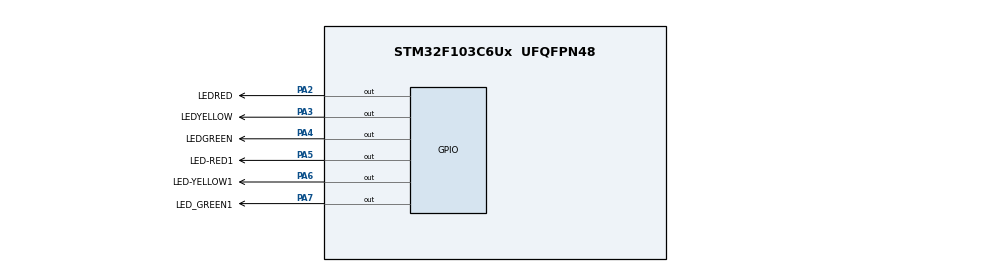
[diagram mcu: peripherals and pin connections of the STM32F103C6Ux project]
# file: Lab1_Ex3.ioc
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Mcu.Family=STM32F1
Mcu.Name=STM32F103C6Ux
Mcu.Package=UFQFPN48
NVIC.PriorityGroup=NVIC_PRIORITYGROUP_4
PA2.GPIO_Label=LEDRED
PA2.Signal=GPIO_Output
PA3.GPIO_Label=LEDYELLOW
PA3.Signal=GPIO_Output
PA4.GPIO_Label=LEDGREEN
PA4.Signal=GPIO_Output
PA5.GPIO_Label=LED-RED1
PA5.Signal=GPIO_Output
PA6.GPIO_Label=LED-YELLOW1
PA6.Signal=GPIO_Output
PA7.GPIO_Label=LED_GREEN1
PA7.Signal=GPIO_Output
ProjectManager.HeapSize=0x200
ProjectManager.StackSize=0x400
ProjectManager.TargetToolchain=STM32CubeIDE
RCC.APB1Freq_Value=8000000
RCC.APB2Freq_Value=8000000
VP_SYS_VS_ND.Mode=No_Debug
board=custom

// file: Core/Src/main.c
/* USER CODE BEGIN Header */
/**
  ******************************************************************************
  * @file           : main.c
  * @brief          : Main program body
  ******************************************************************************
  * @attention
  *
  * <h2><center>&copy; Copyright (c) 2024 STMicroelectronics.
  * All rights reserved.</center></h2>
  *
  * This software component is licensed by ST under BSD 3-Clause license,
  * the "License"; You may not use this file except in compliance with the
  * License. You may obtain a copy of the License at:
  *                        opensource.org/licenses/BSD-3-Clause
  *
  ******************************************************************************
  */
/* USER CODE END Header */
#include "main.h"

/* USER CODE BEGIN PV */
int counter1 = 3;
int count = 3;
/* USER CODE END PV */

void SystemClock_Config(void);
static void MX_GPIO_Init(void);

int main(void)
{

  /* MCU Configuration--------------------------------------------------------*/

  /* Reset of all peripherals, Initializes the Flash interface and the Systick. */
  HAL_Init();

  /* Configure the system clock */
  SystemClock_Config();

  /* Initialize all configured peripherals */
  MX_GPIO_Init();

  /* Infinite loop */
  /* USER CODE BEGIN WHILE */
  while (1)
  {

	  if (counter1 > 1 && count == 3){
	  	 HAL_GPIO_WritePin(GPIOA, GPIO_PIN_7, GPIO_PIN_SET);
	  	 HAL_GPIO_WritePin(GPIOA, GPIO_PIN_6, GPIO_PIN_RESET);
	  	 HAL_GPIO_WritePin(GPIOA, GPIO_PIN_5, GPIO_PIN_RESET);
	  	 HAL_GPIO_WritePin(GPIOA, GPIO_PIN_2, GPIO_PIN_SET);
	  	 HAL_GPIO_WritePin(GPIOA, GPIO_PIN_3, GPIO_PIN_RESET);
	  	 HAL_GPIO_WritePin(GPIOA, GPIO_PIN_4, GPIO_PIN_RESET);
	  }

	  if (counter1 > 1 && count == 2){
	  	 HAL_GPIO_WritePin(GPIOA, GPIO_PIN_6, GPIO_PIN_SET);
	  	 HAL_GPIO_WritePin(GPIOA, GPIO_PIN_7, GPIO_PIN_RESET);
	  	 HAL_GPIO_WritePin(GPIOA, GPIO_PIN_5, GPIO_PIN_RESET);
	  	 HAL_GPIO_WritePin(GPIOA, GPIO_PIN_2, GPIO_PIN_SET);
	  	 HAL_GPIO_WritePin(GPIOA, GPIO_PIN_3, GPIO_PIN_RESET);
	  	 HAL_GPIO_WritePin(GPIOA, GPIO_PIN_4, GPIO_PIN_RESET);
	  }

	  if (counter1 > 1 && count == 5){
	  	 if (counter1 > 2){
	  	  	HAL_GPIO_WritePin(GPIOA, GPIO_PIN_5, GPIO_PIN_SET); //do
	  	  	HAL_GPIO_WritePin(GPIOA, GPIO_PIN_6, GPIO_PIN_RESET); //
	  	  	HAL_GPIO_WritePin(GPIOA, GPIO_PIN_7, GPIO_PIN_RESET); //
	  	  	HAL_GPIO_WritePin(GPIOA, GPIO_PIN_4, GPIO_PIN_SET); //xanh
	  	  	HAL_GPIO_WritePin(GPIOA, GPIO_PIN_2, GPIO_PIN_RESET); //
	  	  	HAL_GPIO_WritePin(GPIOA, GPIO_PIN_3, GPIO_PIN_RESET); //
	  	  } else {
	  	  	HAL_GPIO_WritePin(GPIOA, GPIO_PIN_5, GPIO_PIN_SET); //do
	  	  	HAL_GPIO_WritePin(GPIOA, GPIO_PIN_6, GPIO_PIN_RESET); //
	  	  	HAL_GPIO_WritePin(GPIOA, GPIO_PIN_7, GPIO_PIN_RESET); //
	  	  	HAL_GPIO_WritePin(GPIOA, GPIO_PIN_3, GPIO_PIN_SET); //xanh
	  	  	HAL_GPIO_WritePin(GPIOA, GPIO_PIN_2, GPIO_PIN_RESET); //
	  	  	HAL_GPIO_WritePin(GPIOA, GPIO_PIN_4, GPIO_PIN_RESET); //
	  	  }
	  	}
	  	  counter1--;
	  	  			if (counter1 <= 0 && count == 3) {
	  	  				count = 2;
	  	  				counter1 = 2;
	  	  			}
	  	  			if (counter1 <= 0 && count == 2) {
	  	  				count = 5;
	  	  				counter1 = 5;
	  	  			}
	  	  			if (counter1 <= 0 && count == 5) {
	  	  				count = 3;
	  	  				counter1 = 3;
	  	  			}
	  	  			HAL_Delay(1000);

    /* USER CODE END WHILE */

  }
}

void SystemClock_Config(void)
{
  RCC_OscInitTypeDef RCC_OscInitStruct = {0};
  RCC_ClkInitTypeDef RCC_ClkInitStruct = {0};

  /** Initializes the RCC Oscillators according to the specified parameters
  * in the RCC_OscInitTypeDef structure.
  */
  RCC_OscInitStruct.OscillatorType = RCC_OSCILLATORTYPE_HSI;
  RCC_OscInitStruct.HSIState = RCC_HSI_ON;
  RCC_OscInitStruct.HSICalibrationValue = RCC_HSICALIBRATION_DEFAULT;
  RCC_OscInitStruct.PLL.PLLState = RCC_PLL_NONE;
  if (HAL_RCC_OscConfig(&RCC_OscInitStruct) != HAL_OK)
  {
    Error_Handler();
  }
  /** Initializes the CPU, AHB and APB buses clocks
  */
  RCC_ClkInitStruct.ClockType = RCC_CLOCKTYPE_HCLK|RCC_CLOCKTYPE_SYSCLK
                              |RCC_CLOCKTYPE_PCLK1|RCC_CLOCKTYPE_PCLK2;
  RCC_ClkInitStruct.SYSCLKSource = RCC_SYSCLKSOURCE_HSI;
  RCC_ClkInitStruct.AHBCLKDivider = RCC_SYSCLK_DIV1;
  RCC_ClkInitStruct.APB1CLKDivider = RCC_HCLK_DIV1;
  RCC_ClkInitStruct.APB2CLKDivider = RCC_HCLK_DIV1;

  if (HAL_RCC_ClockConfig(&RCC_ClkInitStruct, FLASH_LATENCY_0) != HAL_OK)
  {
    Error_Handler();
  }
}

static void MX_GPIO_Init(void)
{
  GPIO_InitTypeDef GPIO_InitStruct = {0};

  /* GPIO Ports Clock Enable */
  __HAL_RCC_GPIOA_CLK_ENABLE();

  /*Configure GPIO pin Output Level */
  HAL_GPIO_WritePin(GPIOA, LEDRED_Pin|LEDYELLOW_Pin|LEDGREEN_Pin|LED_RED1_Pin
                          |LED_YELLOW1_Pin|LED_GREEN1_Pin, GPIO_PIN_RESET);

  /*Configure GPIO pins : LEDRED_Pin LEDYELLOW_Pin LEDGREEN_Pin LED_RED1_Pin
                           LED_YELLOW1_Pin LED_GREEN1_Pin */
  GPIO_InitStruct.Pin = LEDRED_Pin|LEDYELLOW_Pin|LEDGREEN_Pin|LED_RED1_Pin
                          |LED_YELLOW1_Pin|LED_GREEN1_Pin;
  GPIO_InitStruct.Mode = GPIO_MODE_OUTPUT_PP;
  GPIO_InitStruct.Pull = GPIO_NOPULL;
  GPIO_InitStruct.Speed = GPIO_SPEED_FREQ_LOW;
  HAL_GPIO_Init(GPIOA, &GPIO_InitStruct);

}

void Error_Handler(void)
{
  __disable_irq();
  while (1)
  {
  }
}

/************************ (C) COPYRIGHT STMicroelectronics *****END OF FILE****/
